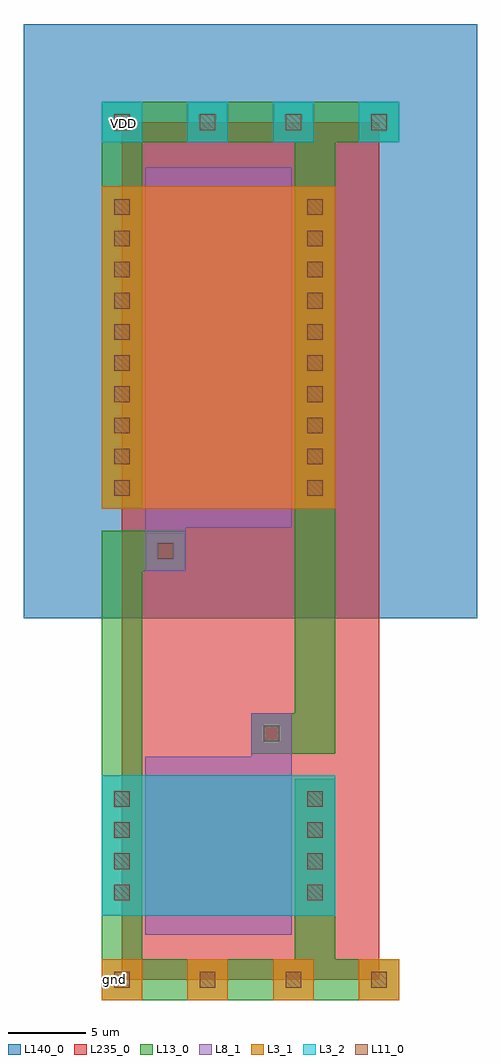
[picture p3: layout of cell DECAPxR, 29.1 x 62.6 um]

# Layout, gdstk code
import gdstk
lib = gdstk.Library(unit=1e-6, precision=1e-09)
def R(c, l, rs):  # rectangles x0, y0, x1, y1
    for r in rs: c.add(gdstk.rectangle(r[:2], r[2:], *l))
def A(c, l, x, y, w, h, nx, ny, dx, dy):  # array of equal rectangles
    R(c, l, [(x+i*dx, y+j*dy, x+i*dx+w, y+j*dy+h) for i in range(nx) for j in range(ny)])
L3_1 = (3, 1)
L3_2 = (3, 2)
L8_1 = (8, 1)
L11_0 = (11, 0)
L13_0 = (13, 0)
L140_0 = (140, 0)
L235_0 = (235, 0)

cont_n_7 = lib.new_cell('cont_n$7')
R(cont_n_7, L3_2, [(-1.3,-1.3,1.3,1.3)])
R(cont_n_7, L11_0, [(-0.5,-0.5,0.5,0.5)])
R(cont_n_7, L13_0, [(-1.3,-1.3,1.3,1.3)])

cont_p_7 = lib.new_cell('cont_p$7')
R(cont_p_7, L3_1, [(-1.3,-1.3,1.3,1.3)])
R(cont_p_7, L11_0, [(-0.5,-0.5,0.5,0.5)])
R(cont_p_7, L13_0, [(-1.3,-1.3,1.3,1.3)])

cont_g_6 = lib.new_cell('cont_g$6')
R(cont_g_6, L8_1, [(-1.3,-1.3,1.3,1.3)])
R(cont_g_6, L11_0, [(-0.5,-0.5,0.5,0.5)])
R(cont_g_6, L13_0, [(-1.3,-1.3,1.3,1.3)])

fet_p_1_2 = lib.new_cell('fet_p$1$2')
R(fet_p_1_2, L3_1, [(-7.5,-10.35,7.5,10.35)])
A(fet_p_1_2, L11_0, -6.7, -9.5, 1, 1, 1, 10, 0, 2)
A(fet_p_1_2, L11_0, 5.7, -9.5, 1, 1, 1, 10, 0, 2)
R(fet_p_1_2, L13_0, [(-7.5,-10.3,-4.9,10.3), (4.9,-10.3,7.5,10.3)])
fet_p_1_2.add(gdstk.FlexPath([(0,-11.55),(0,11.55)], 9.4, ends="flush", simple_path=True, layer=8, datatype=1))  # L8_1

fet_n_2 = lib.new_cell('fet_n$2')
R(fet_n_2, L3_2, [(-7.5,-4.5,7.5,4.5)])
A(fet_n_2, L11_0, -6.7, -3.5, 1, 1, 1, 4, 0, 2)
A(fet_n_2, L11_0, 5.7, -3.5, 1, 1, 1, 4, 0, 2)
R(fet_n_2, L13_0, [(-7.5,-4.3,-4.9,4.3), (4.9,-4.3,7.5,4.3)])
fet_n_2.add(gdstk.FlexPath([(0,-5.7),(0,5.7)], 9.4, ends="flush", simple_path=True, layer=8, datatype=1))  # L8_1

decapxr = lib.new_cell('DECAPxR')
R(decapxr, L8_1, [(8.8,14.3,11.4,14.5), (2,28.8,4.6,29)])
R(decapxr, L140_0, [(-5.8,23.2,23.3,61.3)])
R(decapxr, L235_0, [(0.5,0,17,55)])
decapxr.add(gdstk.FlexPath([(3.3,27.5),(0.5,27.5),(0.5,11.7)], 2.6, ends="extended", simple_path=True, layer=13, datatype=0))  # L13_0
decapxr.add(gdstk.FlexPath([(10.1,15.8),(12.9,15.8),(12.9,31.5)], 2.6, ends="extended", simple_path=True, layer=13, datatype=0))  # L13_0
decapxr.add(gdstk.FlexPath([(12.9,5.6),(12.9,0)], 2.6, ends="extended", simple_path=True, layer=13, datatype=0))  # L13_0
decapxr.add(gdstk.FlexPath([(0.5,49.547),(0.5,54.997)], 2.6, ends="extended", simple_path=True, layer=13, datatype=0))  # L13_0
decapxr.add(gdstk.FlexPath([(0.5,5.6),(0.5,0)], 2.6, ends="extended", simple_path=True, layer=13, datatype=0))  # L13_0
decapxr.add(gdstk.FlexPath([(12.9,49.55),(12.9,55)], 2.6, ends="extended", simple_path=True, layer=13, datatype=0))  # L13_0
decapxr.add(gdstk.FlexPath([(0.5,55),(17,55)], 2.6, ends="extended", simple_path=True, layer=13, datatype=0))  # L13_0
decapxr.add(gdstk.FlexPath([(0.5,0),(17,0)], 2.6, ends="extended", simple_path=True, layer=13, datatype=0))  # L13_0
decapxr.add(gdstk.Reference(cont_n_7, (0.5,55)))
decapxr.add(gdstk.Reference(cont_n_7, (6,55)))
decapxr.add(gdstk.Reference(cont_n_7, (11.5,55)))
decapxr.add(gdstk.Reference(cont_n_7, (17,55)))
decapxr.add(gdstk.Reference(cont_p_7, (0.5,0)))
decapxr.add(gdstk.Reference(cont_p_7, (6,0)))
decapxr.add(gdstk.Reference(cont_p_7, (11.5,0)))
decapxr.add(gdstk.Reference(cont_p_7, (17,0)))
decapxr.add(gdstk.Reference(cont_g_6, (3.3,27.5)))
decapxr.add(gdstk.Reference(cont_g_6, (10.1,15.8)))
decapxr.add(gdstk.Reference(fet_p_1_2, (6.7,40.55)))
decapxr.add(gdstk.Reference(fet_n_2, (6.7,8.6)))
decapxr.add(gdstk.Label('VDD', (0.6,54.9), layer=48, texttype=0))
decapxr.add(gdstk.Label('gnd', (0,0), layer=48, texttype=0))

lib.write_gds('DECAPxR.gds')
